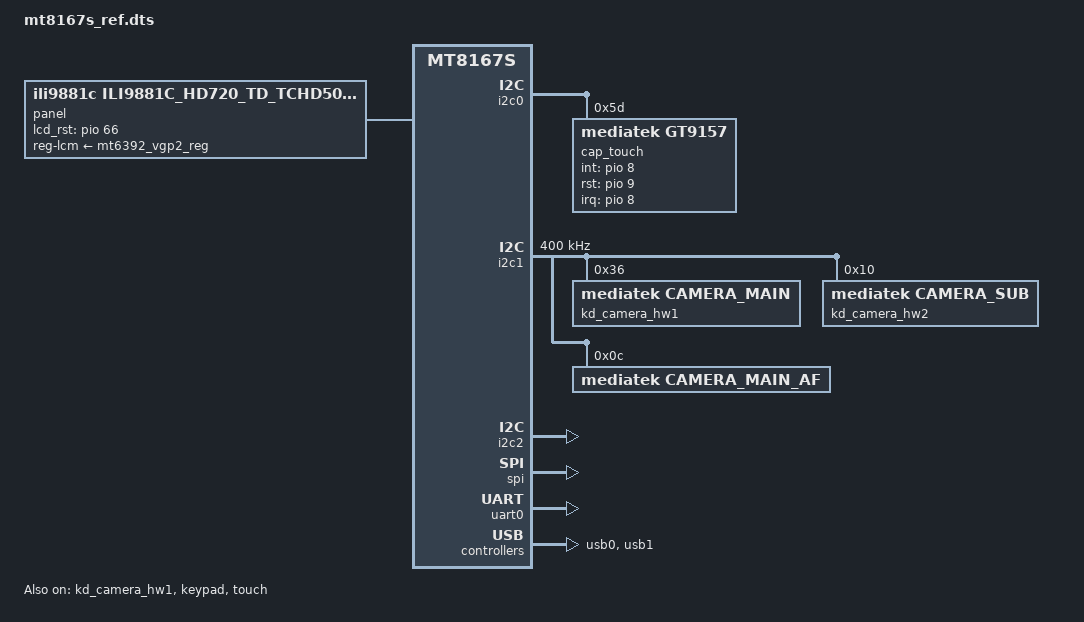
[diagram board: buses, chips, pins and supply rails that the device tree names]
/*
 * Copyright (c) 2014-2015 MediaTek Inc.
 *
 * This program is free software; you can redistribute it and/or modify
 * it under the terms of the GNU General Public License version 2 as
 * published by the Free Software Foundation.
 *
 * This program is distributed in the hope that it will be useful,
 * MERCHANTABILITY or FITNESS FOR A PARTICULAR PURPOSE.  See the
 * GNU General Public License for more details.
 */

/dts-v1/;

#include "mt8167s_ref_base.dtsi"

/ {
	panel: panel@0 {
		compatible = "ili9881c,ili9881c_hd720_td_tchd5031_6b_dsi_vdo";
		gpio_lcd_rst = <&pio 66 0>;
		reg-lcm-supply = <&mt6392_vgp2_reg>;
		status = "okay";
	};
};

&i2c0 {
	status = "okay";

	cap_touch@5d {
		compatible = "mediatek,GT9157", "mediatek,GT9XX_MTK";
		reg = <0x5d>;
		interrupt-parent = <&pio>;
		interrupts = <8 IRQ_TYPE_EDGE_FALLING>;
		int-gpio = <&pio 8 0>;
		rst-gpio = <&pio 9 0>;
	};
};

&i2c1 {
	clock-div = <2>;
	pinctrl-names = "default";
	pinctrl-0 = <&i2c1_pins_a>;
	status = "okay";
	clock-frequency = <400000>;

	kd_camera_hw1@36 {
		compatible = "mediatek,camera_main";
		reg = <0x36>;
	};
	kd_camera_hw2@10 {
		compatible = "mediatek,camera_sub";
		reg = <0x10>;
	};

	 camera_main_af@0c {
		compatible = "mediatek,CAMERA_MAIN_AF";
		reg = <0x0c>;
	};
};

&i2c2 {
	status = "okay";
};

/* Main Cam */
&kd_camera_hw1 {
	reg-vcama-supply = <&mt6392_vcama_reg>;		/* AVDD */
	reg-vcamd-supply = <&mt6392_vcamd_reg>;		/* DVDD */
	reg-vcamio-supply = <&mt6392_vcamio_reg>;	/* DOVDD */
	reg-vcamaf-supply = <&mt6392_vcamaf_reg>;	/* AFVDD */

	pinctrl-names = "default",
		"cam_mclk", "cam_gpio84", "cam_gpio85",
		"cam_gpio86", "cam_gpio87", "cam_gpio88",  "cam_gpio89";

	pinctrl-0 = <&camera_pins_default>;
	pinctrl-1 = <&camera_pins_cam_mclk>;
	pinctrl-2 = <&camera_pins_gpio84>;
	pinctrl-3 = <&camera_pins_gpio85>;
	pinctrl-4 = <&camera_pins_gpio86>;
	pinctrl-5 = <&camera_pins_gpio87>;
	pinctrl-6 = <&camera_pins_gpio88>;
	pinctrl-7 = <&camera_pins_gpio89>;

	cam0_rst = <&pio 10 0>;
	cam0_pdn = <&pio 7 0>;
/* cam1_rst = <&pio 10 0>; */
/* cam1_pdn = <&pio 7 0>; */
	status = "okay";
};

/* Sub Cam */
/* Same power pins as Main, actually, it can be commented */
&kd_camera_hw2 {
	reg-vcama-supply = <&mt6392_vcama_reg>;		/* AVDD */
	reg-vcamd-supply = <&mt6392_vcamd_reg>;		/* DVDD */
	reg-vcamio-supply = <&mt6392_vcamio_reg>;	/* DOVDD */
	reg-vcamaf-supply = <&mt6392_vcamaf_reg>;	/* AFVDD */
};
&keypad {
	pinctrl-names = "default";
	pinctrl-0 = <&kpd_pins_default>;
	mediatek,kpd-hw-init-map = <115 113 0 0 0 0 0 0 0 59 164 0 0 0 0 0 0 0 0 0 0 0 0 0
			0 0 0 0 0 0 0 0 0 0 0 0 0 0 0 0 0 0 0 0 0 0 0 0
			0 0 0 0 0 0 0 0 0 0 0 0 0 0 0 0 0 0 0 0 0 0 0 0 >;
	status = "okay";
};

&pio {
	pinctrl-names = "default";
	pinctrl-0 = <&state_default>;

	state_default:pinconf_default {
	};

	aud_pins_default: audiodefault {
		pins_cmd_dat {
			pinmux = <MT8167_PIN_36_MRG_CLK__FUNC_I2S0_BCK>,
				<MT8167_PIN_37_MRG_SYNC__FUNC_I2S0_LRCK>,
				<MT8167_PIN_38_MRG_DI__FUNC_I2S0_DI>,
				<MT8167_PIN_20_EINT20__FUNC_I2S3_DO>,
				<MT8167_PIN_25_EINT25__FUNC_I2S_8CH_MCK>,
				<MT8167_PIN_55_I2S_DATA_IN__FUNC_I2S_8CH_DO1>,
				<MT8167_PIN_56_I2S_LRCK__FUNC_I2S_8CH_LRCK>,
				<MT8167_PIN_57_I2S_BCK__FUNC_I2S_8CH_BCK>,
				<MT8167_PIN_1_EINT1__FUNC_I2S2_DI>,
				<MT8167_PIN_100_CMDAT0__FUNC_TDM_RX_MCK>,
				<MT8167_PIN_101_CMDAT1__FUNC_TDM_RX_BCK>,
				<MT8167_PIN_16_EINT16__FUNC_TDM_RX_LRCK>,
				<MT8167_PIN_103_CMPCLK__FUNC_TDM_RX_DI>;
			drive-strength = <MTK_DRIVE_4mA>;
		};

		pins_tas5782m_reset_mute {
			pinmux = <MT8167_PIN_107_MSDC1_DAT1__FUNC_GPIO107>,
				<MT8167_PIN_108_MSDC1_DAT2__FUNC_GPIO108>;
			output-high;
		};

		pins_tlv320adc3101_reset {
			pinmux = <MT8167_PIN_24_EINT24__FUNC_GPIO24>;
			output-high;
		};
	};

	/* CAMERA GPIO standardization */
	/* default mode */
	camera_pins_default: camdefault {
		pins_cmd_dat {
			pinmux = <MT8167_PIN_84_RDN0__FUNC_RDN0>,
				<MT8167_PIN_85_RDP0__FUNC_RDP0>,
				<MT8167_PIN_86_RDN1__FUNC_RDN1>,
				<MT8167_PIN_87_RDP1__FUNC_RDP1>,
				<MT8167_PIN_88_RCN__FUNC_RCN>,
				<MT8167_PIN_89_RCP__FUNC_RCP>;
		};
	};

	camera_pins_cam_mclk: cam_pin_mclk {
		pins_cmd_dat {
			pins = <MT8167_PIN_102_CMMCLK__FUNC_CMMCLK>;
		};
	};

	camera_pins_gpio88: cam_pin_gpio88 {
		pins_cmd_dat {
			pins = <MT8167_PIN_88_RCN__FUNC_RCN>;
		};
	};

	camera_pins_gpio89: cam_pin_gpio89 {
		pins_cmd_dat {
			pins = <MT8167_PIN_89_RCP__FUNC_RCP>;
		};
	};

	camera_pins_gpio86: cam_pin_gpio86 {
		pins_cmd_dat {
			pins = <MT8167_PIN_86_RDN1__FUNC_RDN1>;
		};
	};

	camera_pins_gpio87: cam_pin_gpio87 {
		pins_cmd_dat {
			pins = <MT8167_PIN_87_RDP1__FUNC_RDP1>;
		};
	};

	camera_pins_gpio84: cam_pin_gpio84 {
		pins_cmd_dat {
			pins = <MT8167_PIN_84_RDN0__FUNC_RDN0>;
		};
	};

	camera_pins_gpio85: cam_pin_gpio85 {
		pins_cmd_dat {
			pins = <MT8167_PIN_85_RDP0__FUNC_RDP0>;
		};
	};

	CTP_pins_default: eint0default {
		pins_cmd_dat {
			pins = <MT8167_PIN_8_EINT8__FUNC_GPIO8>;
			slew-rate = <0>;
			bias-disable;
		};
	};

	CTP_pins_eint_as_int: eint@0 {
		pins_cmd_dat {
			pins = <MT8167_PIN_8_EINT8__FUNC_GPIO8>;
			slew-rate = <0>;
			bias-disable;
		};
	};

	CTP_pins_eint_output0: eintoutput0 {
		pins_cmd_dat {
			pins = <MT8167_PIN_8_EINT8__FUNC_GPIO8>;
			slew-rate = <1>;
			output-low;
		};
	};

	CTP_pins_eint_output1: eintoutput1 {
		pins_cmd_dat {
			pins = <MT8167_PIN_8_EINT8__FUNC_GPIO8>;
			slew-rate = <1>;
			output-high;
		};
	};

	CTP_pins_rst_output0: rstoutput0 {
		pins_cmd_dat {
			pins = <MT8167_PIN_9_EINT9__FUNC_GPIO9>;
			slew-rate = <1>;
			output-low;
		};
	};

	CTP_pins_rst_output1: rstoutput1 {
		pins_cmd_dat {
			pins = <MT8167_PIN_9_EINT9__FUNC_GPIO9>;
			slew-rate = <1>;
			output-high;
		};
	};

	kpd_pins_default: kpddefault {
		pins_cols {
			pinmux = <MT8167_PIN_42_KPCOL0__FUNC_KPCOL0>,
				 <MT8167_PIN_43_KPCOL1__FUNC_KPCOL1>;
			input-enable;
			bias-pull-up = <MTK_PUPD_SET_R1R0_01>;
		};

		pins_rows {
			pinmux = <MT8167_PIN_40_KPROW0__FUNC_KPROW0>,
				 <MT8167_PIN_41_KPROW1__FUNC_KPROW1>;
			output-low;
			bias-disable;
		};
	};

	usb0_iddig: iddig_irq_init {
		pins_cmd_dat {
			pins = <MT8167_PIN_19_EINT19__FUNC_IDDIG>;
			slew-rate = <0>;
			bias-pull-up = <00>;
		};
	};
};

&spi {
	status = "okay";
};

&touch {
	vtouch-supply = <&mt6392_vmc_reg>;
	tpd-resolution = <720 1280>;
	use-tpd-button = <0>;
	tpd-key-num = <4>;
	tpd-key-local= <139 172 158 0>;
	tpd-key-dim-local = <60 850 50 30 180 850 50 30 300 850 50 30 420 850 50 30>;
	tpd-max-touch-num = <5>;
	tpd-filter-enable = <1>;
	tpd-filter-pixel-density = <124>;
	tpd-filter-custom-prameters = <0 0 0 0 0 0 0 0 0 0 0 0>;
	tpd-filter-custom-speed = <0 0 0>;
	pinctrl-names = "default", "state_eint_as_int", "state_eint_output0", "state_eint_output1",
		"state_rst_output0", "state_rst_output1";
	pinctrl-0 = <&CTP_pins_default>;
	pinctrl-1 = <&CTP_pins_eint_as_int>;
	pinctrl-2 = <&CTP_pins_eint_output0>;
	pinctrl-3 = <&CTP_pins_eint_output1>;
	pinctrl-4 = <&CTP_pins_rst_output0>;
	pinctrl-5 = <&CTP_pins_rst_output1>;
	status = "okay";
};

&uart0 {
	status="okay";
};

&usb0 {
	pinctrl-names = "iddig_irq_init", "drvvbus_init", "drvvbus_low", "drvvbus_high";
	pinctrl-0 = <&usb0_iddig>;
	pinctrl-1 = <&usb0_drvvbus>;
	pinctrl-2 = <&usb0_drvvbus_low>;
	pinctrl-3 = <&usb0_drvvbus_high>;
	usb-power-supply = <&mt6392_vusb_reg>;
	drvvbus_gpio = <&pio 18 2>;
	iddig_gpio = <&pio 19 2>;
	mediatek,otg-enable;
	status = "okay";
};

&usb1 {
	status = "okay";
};
